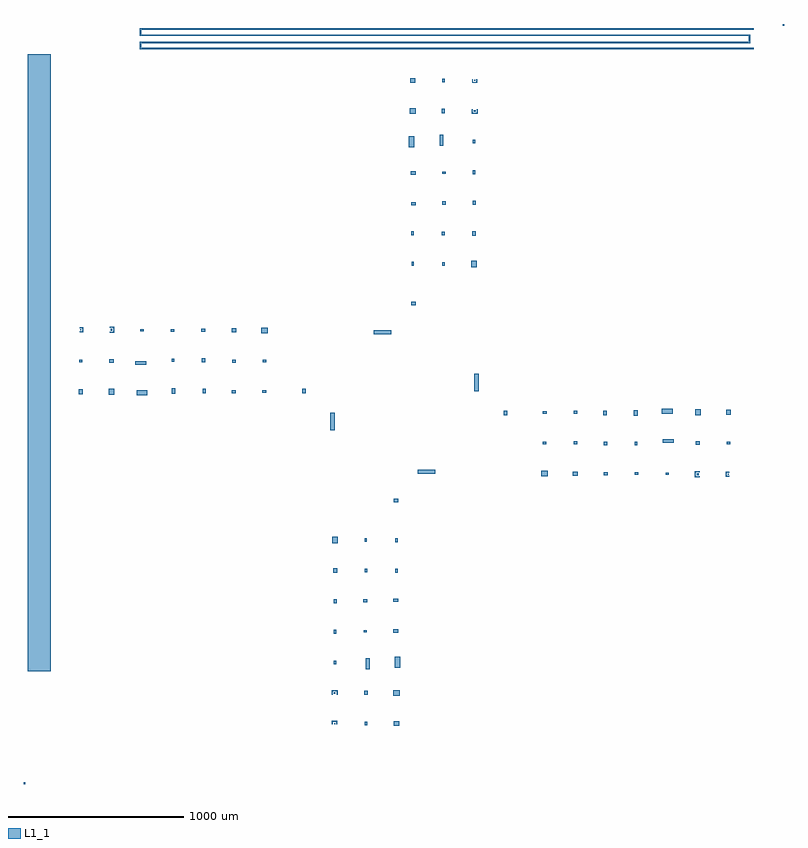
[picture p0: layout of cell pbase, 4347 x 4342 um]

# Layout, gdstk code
import gdstk
lib = gdstk.Library(unit=1e-6, precision=1e-09)
def R(c, l, rs):  # rectangles x0, y0, x1, y1
    for r in rs: c.add(gdstk.rectangle(r[:2], r[2:], *l))
def P(c, l, *ps):  # polygons
    for p in ps: c.add(gdstk.Polygon(p, *l))
L1_1 = (1, 1)

pbase = lib.new_cell('pbase')
R(pbase, L1_1, [(-27,-20,-17,-10), (2089,312.5,2119,337.5), (1921.5,315.5,1935.5,334.5), (1747,322,1753,328), (2086,484.5,2122,515.5), (1919.5,488.5,1938,512), (1745,495,1755,505), (-2,623,127,4150), (1929,637,1950,699), (2095,644,2125,706), (1746.5,665.5,1759.5,684.5), (1746.5,839.5,1760.5,860), (2085,844,2115,865.5), (1916,846,1934,859), (1745,1013.5,1761.5,1036.5), (1914,1017,1936,1036), (2086.5,1020.5,2113.5,1039), (1742.5,1186,1764,1214), (2096.5,1187.5,2112,1209.5), (1921.5,1190,1937,1209.5), (1737.5,1356,1769,1394), (2096.5,1362.5,2109.5,1384.5), (1921.5,1365,1934.5,1384.5), (2087.5,1590,2112.5,1610), (2931,1737.5,2969,1769), (3111,1742.5,3139,1764), (3288.5,1745,3311.5,1761.5), (3820,1745,3830,1755), (3465,1746.5,3485.5,1760.5), (3640.5,1746.5,3659.5,1759.5), (3997,1747,4003,1753), (2225,1751.5,2325,1776.5), (3289,1914,3308,1936), (3466,1916,3479,1934), (3813,1919.5,3836.5,1938), (2940.5,1921.5,2960,1934.5), (3115.5,1921.5,3135,1937), (3990.5,1921.5,4009.5,1935.5), (3626,1929,3688,1950), (1726.5,2000,1751.5,2100), (3459.5,2085,3481,2115), (3809.5,2086,3840.5,2122), (3286,2086.5,3304.5,2113.5), (2715,2087.5,2735,2112.5), (3987.5,2089,4012.5,2119), (3619,2095,3681,2125), (2940.5,2096.5,2962.5,2109.5), (3115.5,2096.5,3137.5,2112), (619,2200,681,2230), (459.5,2203,490.5,2239), (287.5,2206,312.5,2236), (819,2210,840.5,2240), (995.5,2211.5,1014,2238.5), (1565,2212.5,1585,2237.5), (1162.5,2213,1184.5,2228.5), (1337.5,2215.5,1359.5,2228.5), (2548.5,2225,2573.5,2325), (612,2375,674,2396), (463.5,2387,487,2405.5), (1165,2388,1184.5,2403.5), (992,2389,1011,2411), (290.5,2389.5,309.5,2403.5), (1340,2390.5,1359.5,2403.5), (821,2391,834,2409), (1975,2548.5,2075,2573.5), (1331,2556,1369,2587.5), (1161,2561,1189,2582.5), (988.5,2563.5,1011.5,2580), (814.5,2564.5,835,2578.5), (640.5,2565.5,659.5,2578.5), (470,2570,480,2580), (297,2572,303,2578), (2187.5,2715,2212.5,2735), (2531,2931,2562.5,2969), (2190.5,2940.5,2203.5,2962.5), (2365.5,2940.5,2378.5,2960), (2536,3111,2557.5,3139), (2188,3115.5,2203.5,3137.5), (2363,3115.5,2378.5,3135), (2186.5,3286,2213.5,3304.5), (2538.5,3288.5,2555,3311.5), (2364,3289,2386,3308), (2185,3459.5,2215,3481), (2539.5,3465,2553.5,3485.5), (2366,3466,2384,3479), (2175,3619,2205,3681), (2350,3626,2371,3688), (2540.5,3640.5,2553.5,3659.5), (2178,3809.5,2214,3840.5), (2362,3813,2380.5,3836.5), (2545,3820,2555,3830), (2181,3987.5,2211,4012.5), (2364.5,3990.5,2378.5,4009.5), (2547,3997,2553,4003), (4310,4312,4320,4322)])
P(pbase, L1_1, [(638,4178),(4145,4178),(4145,4185),(645,4185),(645,4213),(4124,4213),(4124,4262),(645,4262),(645,4290),(4145,4290),(4145,4297),(638,4297),(638,4255),(4117,4255),(4117,4220),(638,4220)],
  [(2533,3808),(2567,3808),(2567,3836),(2561,3836),(2561,3814),(2539,3814),(2539,3836),(2533,3836)],
  [(2535,3985),(2565,3985),(2565,4005),(2559.5,4005),(2559.5,3990.5),(2540.5,3990.5),(2540.5,4005),(2535,4005)],
  [(492,2558),(492,2592),(464,2592),(464,2586),(486,2586),(486,2564),(464,2564),(464,2558)],
  [(315,2560),(315,2590),(295,2590),(295,2584.5),(309.5,2584.5),(309.5,2565.5),(295,2565.5),(295,2560)],
  [(3808,1767),(3808,1733),(3836,1733),(3836,1739),(3814,1739),(3814,1761),(3836,1761),(3836,1767)],
  [(3985,1765),(3985,1735),(4005,1735),(4005,1740.5),(3990.5,1740.5),(3990.5,1759.5),(4005,1759.5),(4005,1765)],
  [(1767,517),(1733,517),(1733,489),(1739,489),(1739,511),(1761,511),(1761,489),(1767,489)],
  [(1765,340),(1735,340),(1735,320),(1740.5,320),(1740.5,334.5),(1759.5,334.5),(1759.5,320),(1765,320)])

lib.write_gds('pbase.gds')
